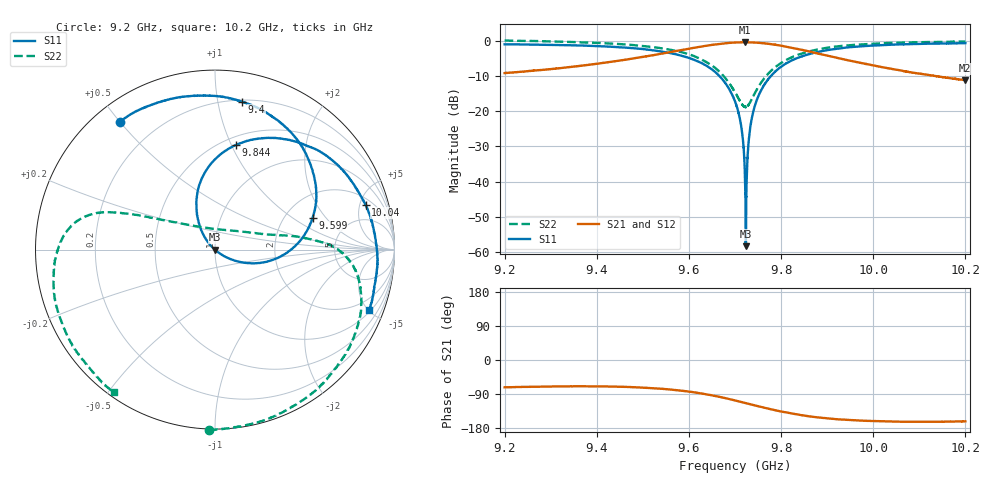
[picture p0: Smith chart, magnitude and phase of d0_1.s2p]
!Agilent Technologies,N5242A,MY51221714,A.09.90.19
!Agilent N5242A: A.09.90.19
!Date: Friday, February 02, 2024 13:04:01
!Correction: S11(Full 2 Port(1,2))
!S21(Full 2 Port(1,2))
!S12(Full 2 Port(1,2))
!S22(Full 2 Port(1,2))
!S2P File: Measurements: S11, S21, S12, S22:
# Hz S  dB  R 50
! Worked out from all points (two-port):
!   16001 points, 9.2 GHz to 10.2 GHz, reference 50 ohm
!   highest |S21| = -0.45 dB at 9.722 GHz (marker M1); lowest = -11.2 dB at 10.2 GHz (marker M2)
!   |S21| within 3 dB of the highest: 9.55 GHz to 9.873 GHz (323.3 MHz wide, 3.33 % of centre); 9.873211 GHz to 9.873316 GHz (105 kHz wide, 0.00106 % of centre)
!   lowest |S11| = -58.3 dB at 9.724 GHz (marker M3), VSWR 1.00, Z = 49.9 - j0.0154 ohm
!   |S11| at or under -10 dB: 9.666 GHz to 9.778 GHz (112.1 MHz wide, 1.15 % of centre)
!   |S22| runs from -18.9 to 0.1 dB; largest |S21 - S12| = 0.017
!   S11 on the Smith chart (normalised r, x): 9.2 GHz: 0.07, +0.50; 9.4 GHz: 0.21, +1.17; 9.599 GHz: 2.82, +1.47; 9.844 GHz: 0.58, +1.04; 10.04 GHz: 2.66, +5.66; 10.2 GHz: 1.11, -5.05
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9.2e9  -1.04 126.7  -9.20 -72.1  -9.17 -72.9  0.05 -91.8
9.366688e9  -1.38 88.2  -7.10 -69.4  -7.08 -70.2  -0.48 -46.6
9.40025e9  -1.54 79.8  -6.55 -69.6  -6.53 -70.4  -0.63 -38.1
9.533375e9  -2.94 41.7  -3.85 -75.3  -3.84 -76.0  -2.01 -8.7
9.599e9  -4.86 17.9  -2.31 -83.3  -2.29 -84.1  -3.81 2.1
9.661875e9  -9.45 -9.1  -0.99 -96.2  -0.97 -97.0  -8.25 11.8
9.7e9  -17.24 -27.7  -0.53 -106.7  -0.50 -107.6  -14.62 32.4
9.71375e9  -24.52 -36.3  -0.47 -110.9  -0.44 -111.7  -17.76 56.3
9.72225e9  -41.28 -42.1  -0.45 -113.4  -0.43 -114.3  -18.82 82.0
9.72375e9  -58.33 -172.7  -0.46 -113.9  -0.42 -114.8  -18.84 86.8
9.726875e9  -33.77 138.4  -0.46 -114.8  -0.44 -115.8  -18.63 97.0
9.730625e9  -27.34 134.9  -0.47 -116.0  -0.45 -116.9  -17.92 108.1
9.735312e9  -22.83 132.0  -0.49 -117.4  -0.46 -118.4  -16.90 119.5
9.753125e9  -14.97 120.7  -0.63 -122.8  -0.61 -123.8  -12.59 141.8
9.790125e9  -8.44 102.8  -1.21 -133.3  -1.21 -134.3  -7.22 154.8
9.843562e9  -4.52 78.6  -2.55 -145.5  -2.54 -146.3  -3.69 161.4
9.866688e9  -3.62 69.2  -3.24 -149.6  -3.23 -150.4  -2.87 164.2
9.940125e9  -1.97 43.8  -5.41 -157.7  -5.42 -158.6  -1.38 175.8
1.003338e10  -1.16 17.0  -7.84 -162.2  -7.84 -163.1  -0.65 -165.3
1.00355e10  -1.16 16.5  -7.89 -162.3  -7.88 -163.1  -0.64 -164.9
1.019975e10  -0.70 -21.3  -11.22 -161.9  -11.20 -162.9  -0.23 -125.4
1.02e10  -0.70 -21.4  -11.21 -161.9  -11.20 -162.9  -0.23 -125.3
